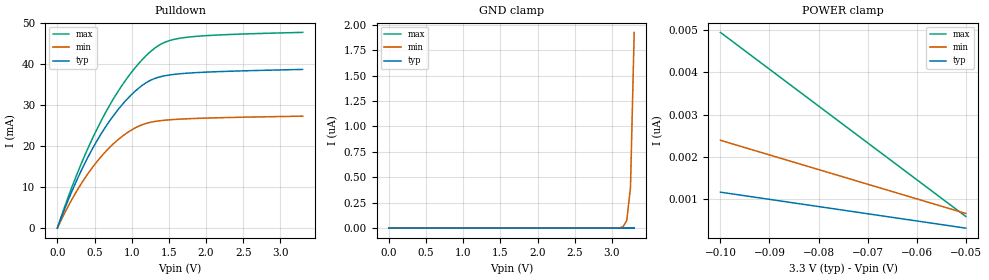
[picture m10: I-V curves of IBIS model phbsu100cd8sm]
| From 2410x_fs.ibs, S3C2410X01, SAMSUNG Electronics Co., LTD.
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[Model] phbsu100cd8sm
 Model_type  I/O_open_drain
 Polarity   Non-Inverting
 Enable   Active-Low
 Vinh= 2.00
 Vinl= 0.80
|variable   typ   min   max
 C_comp   2pF   2pF   2pF
|variable   typ   min   max
[Temperature Range]   25.0   0   70
|variable   typ   min   max
[Voltage Range]   3.3V   3.0V   3.6V
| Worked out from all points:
|   slope of the pulldown table from 0 to 0.495 V, typ, clamps not added: 24.6 ohm
[POWER_clamp]
|  voltage   I(typ)   I(min)   I(max)
-100mV    1.153nA    2.386nA    4.954nA
-50mV     297.2pA    645.9pA    575.3pA
[GND_clamp]
|  voltage   I(typ)   I(min)   I(max)
0V        -239.6pA   -329.6pA   -563.8pA
3V        155pA      396.5pA    75.36pA
3.1V      166.9pA    2.386nA    89.7pA
3.15V     173.1pA    13.18nA    96.86pA
3.2V      179.8pA    74.85nA    104pA
3.25V     188.3pA    398.4nA    111.2pA
3.3V      203.8pA    1.924uA    118.4pA
[Pulldown]
|  voltage   I(typ)   I(min)   I(max)
0V        -16.9nA    -15.48nA   -18.74nA
150mV     7.014mA    5.48mA     7.786mA
300mV     13.2mA     10.22mA    14.78mA
450mV     18.63mA    14.27mA    21.02mA
650mV     24.74mA    18.69mA    28.24mA
800mV     28.54mA    21.32mA    32.88mA
1V        32.62mA    23.98mA    38.08mA
1.15V     34.94mA    25.29mA    41.27mA
1.3V      36.45mA    25.99mA    43.78mA
1.5V      37.35mA    26.42mA    45.72mA
1.75V     37.81mA    26.69mA    46.59mA
3.3V      38.73mA    27.32mA    47.77mA
[Ramp]
| variable   typ   min   max
dV/dt_r  1.9401E-03/1.5565E-12   3.4414E-03/3.6758E-12   4.7665E-04/4.9223E-13
dV/dt_f  8.6392E-01/5.3601E-10   6.4994E-01/7.3816E-10   1.1882E+00/5.1062E-10
R_load = 50ohms
